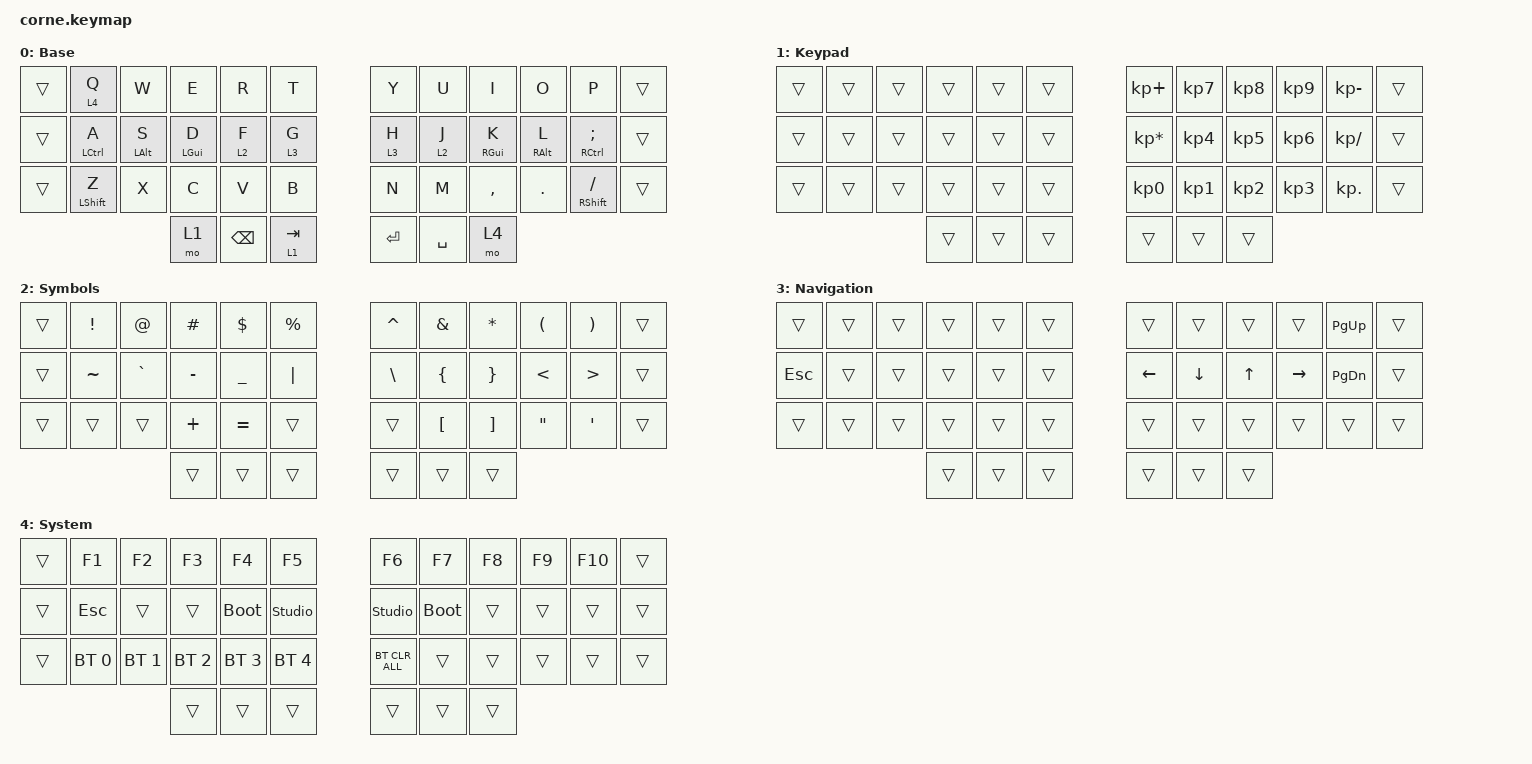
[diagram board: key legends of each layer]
#include <behaviors.dtsi>
#include <dt-bindings/zmk/backlight.h>
#include <dt-bindings/zmk/bt.h>
#include <dt-bindings/zmk/keys.h>

#define DEF 0
#define NAV 1
#define SYM 2
#define ADJ 3
#define EXTRA 4

/ {
    combos {
        compatible = "zmk,combos";

        Escape {
            bindings = <&kp ESCAPE>;
            key-positions = <13 22>;
        };

        screen_grab_selection {
            bindings = <&kp LS(LG(NUMBER_4))>;
            key-positions = <5 6>;
        };

        BL_OFF {
            bindings = <&bl BL_OFF>;
            key-positions = <17 18>;
        };
    };

    //

    behaviors {
        hm: homerow_mods {
            compatible = "zmk,behavior-hold-tap";
            label = "HOMEROW_MODS";
            bindings = <&kp>, <&kp>;

            #binding-cells = <2>;
            tapping-term-ms = <200>;
            quick-tap-ms = <180>;
            require-prior-idle-ms = <120>;
            flavor = "tap-preferred";
        };
    };

    keymap {
        compatible = "zmk,keymap";

        Base {
            display-name = "Base";

            // -----------------------------------------------------------------------------------------
            // |  Q  |  W  |  E  |  R  |  T  |   |  Y  |  U   |  I  |  O  |  P  |
            // |  A  |  S  |  D  |  F  |  G  |   |  H  |  J   |  K  |  L  |  ;  |
            // |  Z  |  X  |  C  |  V  |  B  |   |  N  |  M   |  ,  |  .  |  /  |
            // | GUI | CTRL | SHFT | LWR | SPC |   | ENT | RSE  | BKSP | ALT | ESC |

            bindings = <
&trans  &lt 4 Q             &kp W           &kp E           &kp R          &kp T        &kp Y    &kp U      &kp I            &kp O            &kp P                        &trans
&trans  &hm LEFT_CONTROL A  &hm LEFT_ALT S  &hm LEFT_GUI D  &lt 2 F        &lt 3 G      &lt 3 H  &lt 2 J    &hm RIGHT_GUI K  &hm RIGHT_ALT L  &hm RIGHT_CONTROL SEMICOLON  &trans
&trans  &mt LEFT_SHIFT Z    &kp X           &kp C           &kp V          &kp B        &kp N    &kp M      &kp COMMA        &kp DOT          &mt RIGHT_SHIFT SLASH        &trans
                                            &mo 1           &kp BACKSPACE  &lt 1 TAB    &kp RET  &kp SPACE  &mo 4
            >;
        };

        Keypad {
            bindings = <
&trans  &trans  &trans  &trans  &trans  &trans    &kp KP_PLUS      &kp KP_NUMBER_7  &kp KP_NUMBER_8  &kp KP_NUMBER_9  &kp KP_MINUS  &trans
&trans  &trans  &trans  &trans  &trans  &trans    &kp KP_MULTIPLY  &kp KP_NUMBER_4  &kp KP_NUMBER_5  &kp KP_NUMBER_6  &kp KP_SLASH  &trans
&trans  &trans  &trans  &trans  &trans  &trans    &kp KP_N0        &kp KP_NUMBER_1  &kp KP_NUMBER_2  &kp KP_NUMBER_3  &kp KP_DOT    &trans
                        &trans  &trans  &trans    &trans           &trans           &trans
            >;

            label = "Keypad";
        };

        Symbols {
            bindings = <
&trans  &kp EXCLAMATION  &kp AT_SIGN  &kp HASH   &kp DOLLAR      &kp PERCENT    &kp CARET      &kp AMPERSAND     &kp ASTERISK       &kp LEFT_PARENTHESIS  &kp RIGHT_PARENTHESIS  &trans
&trans  &kp TILDE        &kp GRAVE    &kp MINUS  &kp UNDERSCORE  &kp PIPE       &kp BACKSLASH  &kp LEFT_BRACE    &kp RIGHT_BRACE    &kp LESS_THAN         &kp GREATER_THAN       &trans
&trans  &trans           &trans       &kp PLUS   &kp EQUAL       &trans         &trans         &kp LEFT_BRACKET  &kp RIGHT_BRACKET  &kp DOUBLE_QUOTES     &kp SQT                &trans
                                      &trans     &trans          &trans         &trans         &trans            &trans
            >;

            label = "Symbols";
        };

        Navigation {
            bindings = <
&trans   &trans  &trans  &trans  &trans  &trans    &trans    &trans    &trans        &trans     &kp PAGE_UP    &trans
&kp ESC  &trans  &trans  &trans  &trans  &trans    &kp LEFT  &kp DOWN  &kp UP_ARROW  &kp RIGHT  &kp PAGE_DOWN  &trans
&trans   &trans  &trans  &trans  &trans  &trans    &trans    &trans    &trans        &trans     &trans         &trans
                         &trans  &trans  &trans    &trans    &trans    &trans
            >;

            label = "Navigation";
        };

        System {
            bindings = <
&trans  &kp F1        &kp F2        &kp F3        &kp F4        &kp F5            &kp F6          &kp F7       &kp F8  &kp F9  &kp F10  &trans
&trans  &kp ESCAPE    &trans        &trans        &bootloader   &studio_unlock    &studio_unlock  &bootloader  &trans  &trans  &trans   &trans
&trans  &bt BT_SEL 0  &bt BT_SEL 1  &bt BT_SEL 2  &bt BT_SEL 3  &bt BT_SEL 4      &bt BT_CLR_ALL  &trans       &trans  &trans  &trans   &trans
                                    &trans        &trans        &trans            &trans          &trans       &trans
            >;

            label = "System";
        };
    };
};
